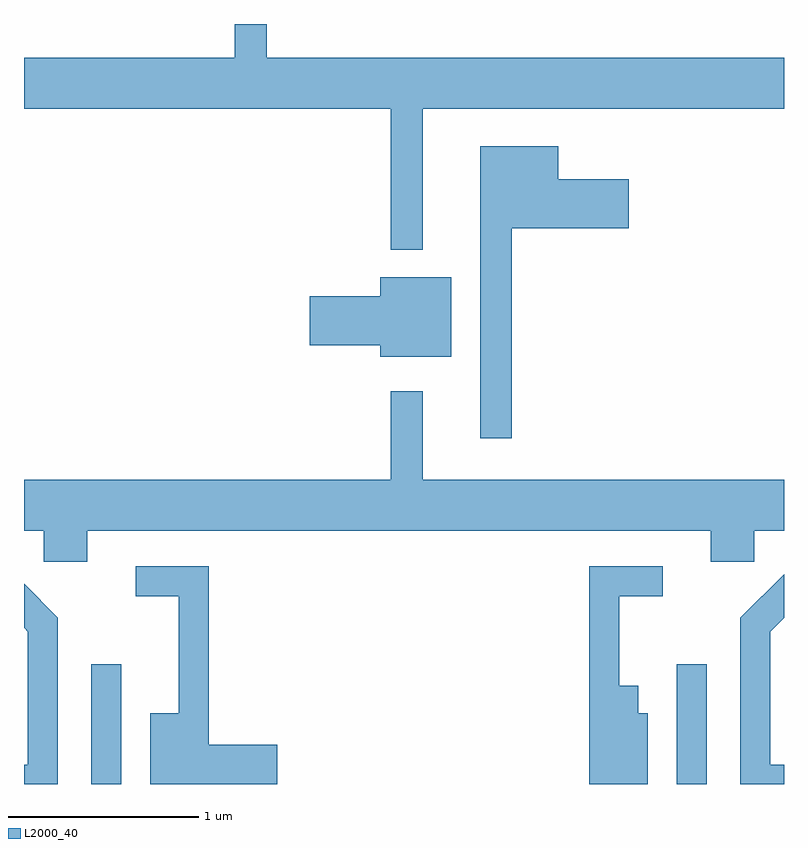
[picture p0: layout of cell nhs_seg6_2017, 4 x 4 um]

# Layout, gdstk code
import gdstk
lib = gdstk.Library(unit=1e-6, precision=1e-09)
def R(c, l, rs):  # rectangles x0, y0, x1, y1
    for r in rs: c.add(gdstk.rectangle(r[:2], r[2:], *l))
def P(c, l, *ps):  # polygons
    for p in ps: c.add(gdstk.Polygon(p, *l))
L2000_40 = (2000, 40)

nhs_seg6_2017 = lib.new_cell('nhs_seg6_2017')
R(nhs_seg6_2017, L2000_40, [(245.966,1644.162,246.124,1644.793), (249.046,1644.162,249.204,1644.793)])
P(nhs_seg6_2017, L2000_40, [(247.709,1647.716),(249.611,1647.716),(249.611,1647.984),(246.889,1647.984),(246.889,1648.162),(246.721,1648.162),(246.721,1647.984),(245.611,1647.984),(245.611,1647.716),(247.541,1647.716),(247.541,1646.973),(247.709,1646.973)],
  [(248.179,1647.086),(248.794,1647.086),(248.794,1647.344),(248.424,1647.344),(248.424,1647.519),(248.011,1647.519),(248.011,1645.983),(248.179,1645.983)],
  [(247.859,1646.829),(247.486,1646.829),(247.486,1646.729),(247.116,1646.729),(247.116,1646.471),(247.486,1646.471),(247.486,1646.411),(247.859,1646.411)],
  [(245.944,1645.496),(249.226,1645.496),(249.226,1645.331),(249.454,1645.331),(249.454,1645.496),(249.611,1645.496),(249.611,1645.764),(247.709,1645.764),(247.709,1646.228),(247.541,1646.228),(247.541,1645.764),(245.611,1645.764),(245.611,1645.496),(245.716,1645.496),(245.716,1645.331),(245.944,1645.331)],
  [(248.894,1644.534),(248.844,1644.534),(248.844,1644.679),(248.744,1644.679),(248.744,1645.151),(248.973,1645.151),(248.973,1645.309),(248.586,1645.309),(248.586,1644.162),(248.894,1644.162)],
  [(246.944,1644.369),(246.584,1644.369),(246.584,1645.309),(246.198,1645.309),(246.198,1645.151),(246.426,1645.151),(246.426,1644.534),(246.276,1644.534),(246.276,1644.162),(246.944,1644.162)],
  [(249.611,1644.264),(249.539,1644.264),(249.539,1644.964),(249.611,1645.036),(249.611,1645.266),(249.381,1645.037),(249.381,1644.162),(249.611,1644.162)],
  [(245.789,1645.037),(245.611,1645.215),(245.611,1644.984),(245.631,1644.964),(245.631,1644.264),(245.611,1644.264),(245.611,1644.162),(245.789,1644.162)])

lib.write_gds('nhs_seg6_2017.gds')
